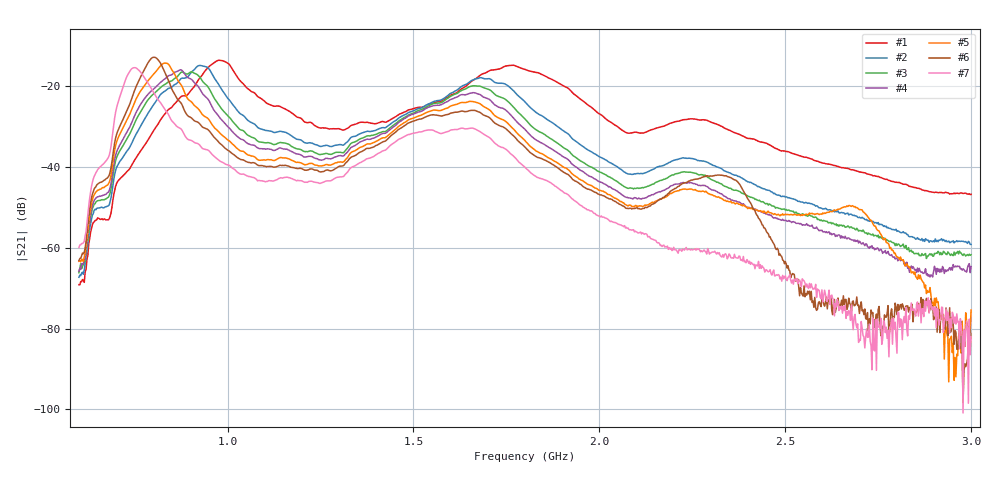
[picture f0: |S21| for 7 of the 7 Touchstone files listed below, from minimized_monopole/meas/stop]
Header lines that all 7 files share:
#  HZ  S  RI  R  50.00
! Rohde & Schwarz ZVB8 2Ports - Version 2.81 - 1145.1010k08 SN: 100113
! Measurements: S11 S21 S12 S22
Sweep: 600 MHz to 3 GHz
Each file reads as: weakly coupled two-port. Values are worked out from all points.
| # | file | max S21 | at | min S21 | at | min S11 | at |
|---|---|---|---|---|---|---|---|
| 1 | lasse_6_0_0_0.s2p | -13.61 dB | 977.2 MHz | -69.2 dB | 602.4 MHz | -20.1 dB | 965.2 MHz |
| 2 | lasse_f_3_0_0.s2p | -14.89 dB | 926.7 MHz | -67.3 dB | 600 MHz | -15.8 dB | 837.8 MHz |
| 3 | lasse_f_9_0_0.s2p | -16.50 dB | 902.7 MHz | -66.2 dB | 600 MHz | -20.4 dB | 801.8 MHz |
| 4 | lasse_f_d_0_0.s2p | -15.98 dB | 873.9 MHz | -67.3 dB | 2.889 GHz | -22.0 dB | 785 MHz |
| 5 | lasse_f_f_6_0.s2p | -14.31 dB | 830.6 MHz | -93.2 dB | 2.94 GHz | -22.8 dB | 775.4 MHz |
| 6 | lasse_f_f_c_0.s2p | -12.87 dB | 801.8 MHz | -98.3 dB | 2.978 GHz | -20.9 dB | 777.8 MHz |
| 7 | lasse_f_f_f_d.s2p | -15.44 dB | 751.4 MHz | -100.9 dB | 2.978 GHz | -32.3 dB | 777.8 MHz |
